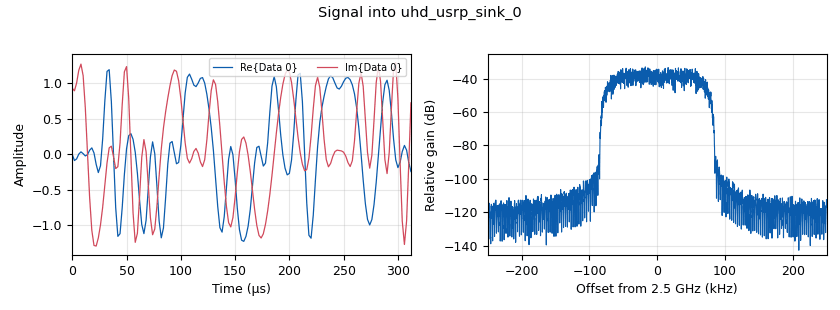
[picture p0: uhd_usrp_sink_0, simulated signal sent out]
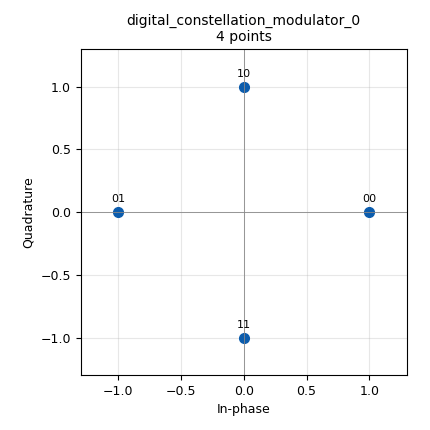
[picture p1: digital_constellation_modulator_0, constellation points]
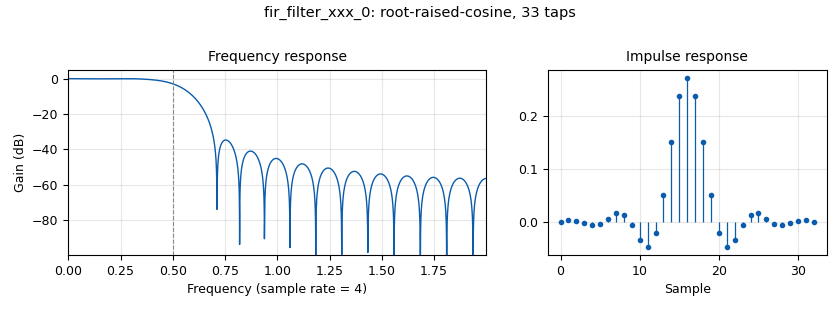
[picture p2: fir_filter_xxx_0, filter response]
<?xml version='1.0' encoding='utf-8'?>
<?grc format='1' created='3.7.10'?>
<flow_graph>
<block>
<key>options</key>
<param><key>id</key><value>top_block</value></param>
<param><key>generate_options</key><value>qt_gui</value></param>
</block>
<block>
<key>variable</key>
<param><key>id</key><value>excess_bw</value></param>
<param><key>value</key><value>0.35</value></param>
</block>
<block>
<key>variable</key>
<param><key>id</key><value>nfilts</value></param>
<param><key>value</key><value>32</value></param>
</block>
<block>
<key>variable_constellation_rect</key>
<param><key>id</key><value>qpsk</value></param>
<param><key>const_points</key><value>[1+0j,-1+0j,0+1j,0-1j]</value></param>
<param><key>imag_sect</key><value>2</value></param>
<param><key>real_sect</key><value>2</value></param>
<param><key>rot_sym</key><value>4</value></param>
<param><key>sym_map</key><value>[0, 1, 2, 3]</value></param>
<param><key>w_imag_sect</key><value>1</value></param>
<param><key>w_real_sect</key><value>1</value></param>
</block>
<block>
<key>variable</key>
<param><key>id</key><value>rrc_taps</value></param>
<param><key>value</key><value>firdes.root_raised_cosine(1, sps, 1, excess_bw, nfilts)</value></param>
</block>
<block>
<key>variable</key>
<param><key>id</key><value>samp_rate</value></param>
<param><key>value</key><value>500e3</value></param>
</block>
<block>
<key>variable</key>
<param><key>id</key><value>sps</value></param>
<param><key>value</key><value>4</value></param>
</block>
<block>
<key>variable_qtgui_range</key>
<param><key>id</key><value>timing_loop_bw</value></param>
<param><key>value</key><value>6.28/100.0</value></param>
<param><key>gui_hint</key><value>0,0,1,1</value></param>
<param><key>label</key><value>Time: BW</value></param>
<param><key>orient</key><value>Qt.Horizontal</value></param>
<param><key>start</key><value>0.0</value></param>
<param><key>step</key><value>0.01</value></param>
<param><key>stop</key><value>0.2</value></param>
<param><key>widget</key><value>slider</value></param>
</block>
<block>
<key>analog_random_source_x</key>
<param><key>id</key><value>analog_random_source_x_0</value></param>
<param><key>max</key><value>255</value></param>
<param><key>min</key><value>0</value></param>
<param><key>num_samps</key><value>1000</value></param>
<param><key>type</key><value>byte</value></param>
<param><key>repeat</key><value>True</value></param>
</block>
<block>
<key>blocks_multiply_const_vxx</key>
<param><key>id</key><value>blocks_multiply_const_vxx_0</value></param>
<param><key>const</key><value>4</value></param>
<param><key>type</key><value>complex</value></param>
</block>
<block>
<key>blocks_vector_source_x</key>
<param><key>id</key><value>blocks_vector_source_x_0</value></param>
<param><key>_enabled</key><value>0</value></param>
<param><key>type</key><value>byte</value></param>
<param><key>repeat</key><value>True</value></param>
<param><key>vector</key><value>(1,2,3,4,5,6,7,8,9,57,57)</value></param>
</block>
<block>
<key>digital_constellation_modulator</key>
<param><key>id</key><value>digital_constellation_modulator_0</value></param>
<param><key>constellation</key><value>qpsk</value></param>
<param><key>differential</key><value>False</value></param>
<param><key>excess_bw</key><value>excess_bw</value></param>
<param><key>samples_per_symbol</key><value>sps</value></param>
</block>
<block>
<key>digital_pfb_clock_sync_xxx</key>
<param><key>id</key><value>digital_pfb_clock_sync_xxx_0</value></param>
<param><key>_enabled</key><value>0</value></param>
<param><key>filter_size</key><value>nfilts</value></param>
<param><key>init_phase</key><value>nfilts/2</value></param>
<param><key>loop_bw</key><value>timing_loop_bw</value></param>
<param><key>max_dev</key><value>1.5</value></param>
<param><key>osps</key><value>1</value></param>
<param><key>sps</key><value>sps*1.001</value></param>
<param><key>taps</key><value>rrc_taps</value></param>
<param><key>type</key><value>ccf</value></param>
</block>
<block>
<key>fir_filter_xxx</key>
<param><key>id</key><value>fir_filter_xxx_0</value></param>
<param><key>decim</key><value>1</value></param>
<param><key>taps</key><value>rrc_taps</value></param>
<param><key>type</key><value>ccc</value></param>
</block>
<block>
<key>fir_filter_xxx</key>
<param><key>id</key><value>fir_filter_xxx_0_0</value></param>
<param><key>decim</key><value>1</value></param>
<param><key>taps</key><value>rrc_taps</value></param>
<param><key>type</key><value>ccc</value></param>
</block>
<block>
<key>qtgui_const_sink_x</key>
<param><key>id</key><value>qtgui_const_sink_x_0</value></param>
<param><key>gui_hint</key><value>0,1,1,1</value></param>
<param><key>alpha1</key><value>0.75</value></param>
<param><key>label1</key><value>S-mod</value></param>
<param><key>alpha2</key><value>0.5</value></param>
<param><key>label2</key><value>S-mod-rrc</value></param>
<param><key>color3</key><value>"red"</value></param>
<param><key>label3</key><value>S-mod-SI</value></param>
<param><key>color4</key><value>"red"</value></param>
<param><key>label4</key><value>S-mod-SI-rrc</value></param>
<param><key>name</key><value></value></param>
<param><key>nconnections</key><value>4</value></param>
<param><key>size</key><value>1024*4</value></param>
<param><key>type</key><value>complex</value></param>
</block>
<block>
<key>qtgui_freq_sink_x</key>
<param><key>id</key><value>qtgui_freq_sink_x_0</value></param>
<param><key>bw</key><value>samp_rate</value></param>
<param><key>fc</key><value>0</value></param>
<param><key>fftsize</key><value>1024</value></param>
<param><key>gui_hint</key><value>1,0,1,2</value></param>
<param><key>alpha1</key><value>0.6</value></param>
<param><key>label1</key><value>S-mod</value></param>
<param><key>width1</key><value>2</value></param>
<param><key>alpha2</key><value>0.6</value></param>
<param><key>label2</key><value>S-mod-rrc</value></param>
<param><key>width2</key><value>2</value></param>
<param><key>label3</key><value>S-mod-SI</value></param>
<param><key>label4</key><value>S-mod-SI-rrc</value></param>
<param><key>name</key><value></value></param>
<param><key>nconnections</key><value>4</value></param>
<param><key>showports</key><value>True</value></param>
<param><key>type</key><value>complex</value></param>
<param><key>wintype</key><value>firdes.WIN_BLACKMAN_hARRIS</value></param>
<param><key>ymax</key><value>0</value></param>
<param><key>ymin</key><value>-150</value></param>
</block>
<block>
<key>qtgui_time_sink_x</key>
<param><key>id</key><value>qtgui_time_sink_x_0</value></param>
<param><key>gui_hint</key><value>0,0,1,1</value></param>
<param><key>alpha1</key><value>0.5</value></param>
<param><key>color1</key><value>"blue"</value></param>
<param><key>label1</key><value>RE{S-mod}</value></param>
<param><key>marker1</key><value>0</value></param>
<param><key>alpha2</key><value>0.5</value></param>
<param><key>color2</key><value>"red"</value></param>
<param><key>label2</key><value>Im{S-mod}</value></param>
<param><key>marker2</key><value>0</value></param>
<param><key>alpha3</key><value>0.5</value></param>
<param><key>color3</key><value>"cyan"</value></param>
<param><key>label3</key><value>Re{S-mod-rrc}</value></param>
<param><key>marker3</key><value>0</value></param>
<param><key>alpha4</key><value>0.5</value></param>
<param><key>color4</key><value>"magenta"</value></param>
<param><key>label4</key><value>Im{S-mod-rrc}</value></param>
<param><key>marker4</key><value>0</value></param>
<param><key>color5</key><value>"cyan"</value></param>
<param><key>label5</key><value>Re{S-mod-SI}</value></param>
<param><key>marker5</key><value>0</value></param>
<param><key>color6</key><value>"magenta"</value></param>
<param><key>label6</key><value>Im{S-mod-SI}</value></param>
<param><key>marker6</key><value>0</value></param>
<param><key>color7</key><value>"yellow"</value></param>
<param><key>label7</key><value>Re{S-mod-SI-rrc}</value></param>
<param><key>marker7</key><value>0</value></param>
<param><key>color8</key><value>"dark red"</value></param>
<param><key>label8</key><value>Im{S-mod-SI-rrc}</value></param>
<param><key>marker8</key><value>0</value></param>
<param><key>name</key><value></value></param>
<param><key>nconnections</key><value>4</value></param>
<param><key>size</key><value>1000</value></param>
<param><key>srate</key><value>samp_rate</value></param>
<param><key>type</key><value>complex</value></param>
<param><key>ymax</key><value>2</value></param>
<param><key>ymin</key><value>-2</value></param>
</block>
<block>
<key>uhd_usrp_sink</key>
<param><key>id</key><value>uhd_usrp_sink_0</value></param>
<param><key>ant0</key><value>TX/RX</value></param>
<param><key>center_freq0</key><value>2.5e9</value></param>
<param><key>norm_gain0</key><value>False</value></param>
<param><key>gain0</key><value>50</value></param>
<param><key>clock_rate</key><value>0.0</value></param>
<param><key>dev_addr</key><value>"addr=192.168.10.2"</value></param>
<param><key>dev_args</key><value>""</value></param>
<param><key>type</key><value>fc32</value></param>
<param><key>sd_spec0</key><value>A:0</value></param>
<param><key>samp_rate</key><value>samp_rate</value></param>
<param><key>hide_cmd_port</key><value>False</value></param>
<param><key>hide_lo_controls</key><value>True</value></param>
<param><key>sync</key><value>pc_clock</value></param>
<param><key>len_tag_name</key><value></value></param>
</block>
<block>
<key>uhd_usrp_source</key>
<param><key>id</key><value>uhd_usrp_source_0</value></param>
<param><key>ant0</key><value>RX2</value></param>
<param><key>center_freq0</key><value>2.5e9</value></param>
<param><key>dc_offs_enb0</key><value>""</value></param>
<param><key>iq_imbal_enb0</key><value>""</value></param>
<param><key>norm_gain0</key><value>False</value></param>
<param><key>gain0</key><value>50</value></param>
<param><key>clock_rate</key><value>0.0</value></param>
<param><key>dev_addr</key><value>"addr=192.168.10.2"</value></param>
<param><key>dev_args</key><value>""</value></param>
<param><key>sd_spec0</key><value>B:0</value></param>
<param><key>type</key><value>fc32</value></param>
<param><key>samp_rate</key><value>samp_rate</value></param>
<param><key>hide_cmd_port</key><value>False</value></param>
<param><key>hide_lo_controls</key><value>True</value></param>
<param><key>sync</key><value>pc_clock</value></param>
</block>
<connection><source_block_id>analog_random_source_x_0</source_block_id><sink_block_id>digital_constellation_modulator_0</sink_block_id><source_key>0</source_key><sink_key>0</sink_key></connection>
<connection><source_block_id>blocks_multiply_const_vxx_0</source_block_id><sink_block_id>fir_filter_xxx_0</sink_block_id><source_key>0</source_key><sink_key>0</sink_key></connection>
<connection><source_block_id>blocks_multiply_const_vxx_0</source_block_id><sink_block_id>qtgui_const_sink_x_0</sink_block_id><source_key>0</source_key><sink_key>2</sink_key></connection>
<connection><source_block_id>blocks_multiply_const_vxx_0</source_block_id><sink_block_id>qtgui_freq_sink_x_0</sink_block_id><source_key>0</source_key><sink_key>2</sink_key></connection>
<connection><source_block_id>blocks_multiply_const_vxx_0</source_block_id><sink_block_id>qtgui_time_sink_x_0</sink_block_id><source_key>0</source_key><sink_key>2</sink_key></connection>
<connection><source_block_id>blocks_vector_source_x_0</source_block_id><sink_block_id>digital_constellation_modulator_0</sink_block_id><source_key>0</source_key><sink_key>0</sink_key></connection>
<connection><source_block_id>digital_constellation_modulator_0</source_block_id><sink_block_id>fir_filter_xxx_0_0</sink_block_id><source_key>0</source_key><sink_key>0</sink_key></connection>
<connection><source_block_id>digital_constellation_modulator_0</source_block_id><sink_block_id>qtgui_const_sink_x_0</sink_block_id><source_key>0</source_key><sink_key>0</sink_key></connection>
<connection><source_block_id>digital_constellation_modulator_0</source_block_id><sink_block_id>qtgui_freq_sink_x_0</sink_block_id><source_key>0</source_key><sink_key>0</sink_key></connection>
<connection><source_block_id>digital_constellation_modulator_0</source_block_id><sink_block_id>qtgui_time_sink_x_0</sink_block_id><source_key>0</source_key><sink_key>0</sink_key></connection>
<connection><source_block_id>digital_constellation_modulator_0</source_block_id><sink_block_id>uhd_usrp_sink_0</sink_block_id><source_key>0</source_key><sink_key>0</sink_key></connection>
<connection><source_block_id>fir_filter_xxx_0</source_block_id><sink_block_id>qtgui_const_sink_x_0</sink_block_id><source_key>0</source_key><sink_key>3</sink_key></connection>
<connection><source_block_id>fir_filter_xxx_0</source_block_id><sink_block_id>qtgui_freq_sink_x_0</sink_block_id><source_key>0</source_key><sink_key>3</sink_key></connection>
<connection><source_block_id>fir_filter_xxx_0</source_block_id><sink_block_id>qtgui_time_sink_x_0</sink_block_id><source_key>0</source_key><sink_key>3</sink_key></connection>
<connection><source_block_id>fir_filter_xxx_0_0</source_block_id><sink_block_id>qtgui_const_sink_x_0</sink_block_id><source_key>0</source_key><sink_key>1</sink_key></connection>
<connection><source_block_id>fir_filter_xxx_0_0</source_block_id><sink_block_id>qtgui_freq_sink_x_0</sink_block_id><source_key>0</source_key><sink_key>1</sink_key></connection>
<connection><source_block_id>fir_filter_xxx_0_0</source_block_id><sink_block_id>qtgui_time_sink_x_0</sink_block_id><source_key>0</source_key><sink_key>1</sink_key></connection>
<connection><source_block_id>uhd_usrp_source_0</source_block_id><sink_block_id>blocks_multiply_const_vxx_0</sink_block_id><source_key>0</source_key><sink_key>0</sink_key></connection>
</flow_graph>
